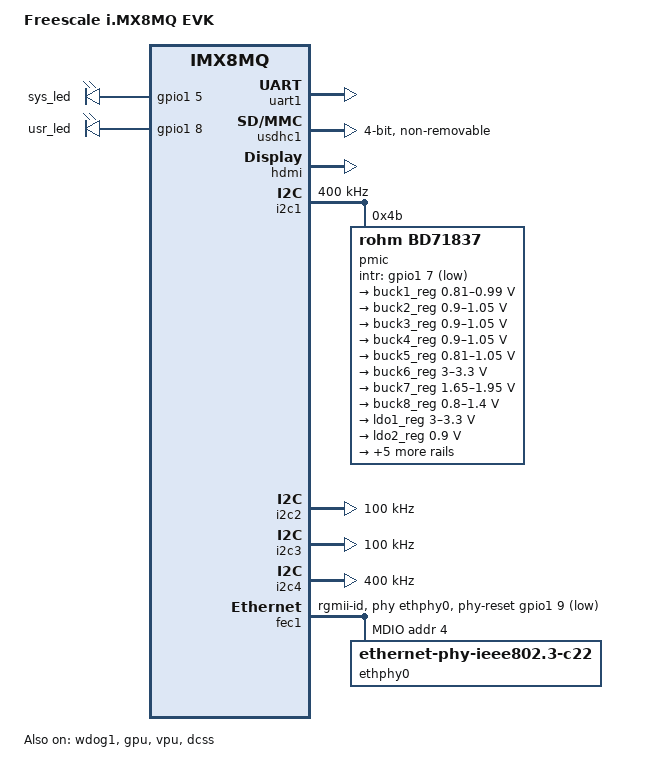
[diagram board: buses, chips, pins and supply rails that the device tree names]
/*
 * Copyright 2019 EMBEST
 *
 * This program is free software; you can redistribute it and/or
 * modify it under the terms of the GNU General Public License
 * as published by the Free Software Foundation; either version 2
 * of the License, or (at your option) any later version.
 *
 * This program is distributed in the hope that it will be useful,
 * but WITHOUT ANY WARRANTY; without even the implied warranty of
 * MERCHANTABILITY or FITNESS FOR A PARTICULAR PURPOSE.  See the
 * GNU General Public License for more details.
 */

/dts-v1/;

#include "fsl-imx8mq.dtsi"

/ {
	model = "Freescale i.MX8MQ EVK";
	compatible = "fsl,imx8mq-evk", "fsl,imx8mq";

	chosen {
		bootargs = "console=ttymxc0,115200 earlycon=ec_imx6q,0x30860000,115200";
		stdout-path = &uart1;
	};

	leds {
		compatible = "gpio-leds";
		pinctrl-names = "default";
		pinctrl-0 = <&pinctrl_gpio_leds>;
		status = "okay";

		sys_led {
				label = "sys_led";
				gpios = <&gpio1 5 0>;
				default-state = "on";
				linux,default-trigger = "heartbeat";
		};
		usr_led {
				label = "usr_led";
				gpios = <&gpio1 8 0>;
				default-state = "on";
		};

	};
};

&clk {
	assigned-clocks = <&clk IMX8MQ_AUDIO_PLL1>, <&clk IMX8MQ_AUDIO_PLL2>;
	assigned-clock-rates = <786432000>, <722534400>;
};

&iomuxc {
	pinctrl-names = "default";
	pinctrl-0 = <&pinctrl_hog>;

	imx8mq-evk {
		pinctrl_hog: hoggrp {
			fsl,pins = <

			>;
		};

		pinctrl_gpio_leds: gpio_ledsgrp {
			fsl,pins = <
				MX8MQ_IOMUXC_GPIO1_IO05_GPIO1_IO5                0x19
				MX8MQ_IOMUXC_GPIO1_IO08_GPIO1_IO8                0x19
			>;
		};

		pinctrl_uart1: uart1grp {
			fsl,pins = <
				MX8MQ_IOMUXC_UART1_RXD_UART1_DCE_RX		0x49
				MX8MQ_IOMUXC_UART1_TXD_UART1_DCE_TX		0x49
			>;
		};

		pinctrl_usdhc1: usdhc1grp {
			fsl,pins = <
				MX8MQ_IOMUXC_SD1_CLK_USDHC1_CLK			0x83
				MX8MQ_IOMUXC_SD1_CMD_USDHC1_CMD			0xc3
				MX8MQ_IOMUXC_SD1_DATA0_USDHC1_DATA0		0xc3
				MX8MQ_IOMUXC_SD1_DATA1_USDHC1_DATA1		0xc3
				MX8MQ_IOMUXC_SD1_DATA2_USDHC1_DATA2		0xc3
				MX8MQ_IOMUXC_SD1_DATA3_USDHC1_DATA3		0xc3
				MX8MQ_IOMUXC_GPIO1_IO06_GPIO1_IO6		0x19
			>;
		};

		pinctrl_usdhc1_100mhz: usdhc1grp100mhz {
			fsl,pins = <
				MX8MQ_IOMUXC_SD1_CLK_USDHC1_CLK			0x85
				MX8MQ_IOMUXC_SD1_CMD_USDHC1_CMD			0xc5
				MX8MQ_IOMUXC_SD1_DATA0_USDHC1_DATA0		0xc5
				MX8MQ_IOMUXC_SD1_DATA1_USDHC1_DATA1		0xc5
				MX8MQ_IOMUXC_SD1_DATA2_USDHC1_DATA2		0xc5
				MX8MQ_IOMUXC_SD1_DATA3_USDHC1_DATA3		0xc5
			>;
		};

		pinctrl_usdhc1_200mhz: usdhc1grp200mhz {
			fsl,pins = <
				MX8MQ_IOMUXC_SD1_CLK_USDHC1_CLK			0x87
				MX8MQ_IOMUXC_SD1_CMD_USDHC1_CMD			0xc7
				MX8MQ_IOMUXC_SD1_DATA0_USDHC1_DATA0		0xc7
				MX8MQ_IOMUXC_SD1_DATA1_USDHC1_DATA1		0xc7
				MX8MQ_IOMUXC_SD1_DATA2_USDHC1_DATA2		0xc7
				MX8MQ_IOMUXC_SD1_DATA3_USDHC1_DATA3		0xc7
			>;
		};

		pinctrl_i2c1: i2c1grp {
			fsl,pins = <
				MX8MQ_IOMUXC_I2C1_SCL_I2C1_SCL			0x4000007f
				MX8MQ_IOMUXC_I2C1_SDA_I2C1_SDA			0x4000007f
			>;
		};

		pinctrl_i2c2: i2c2grp {
			fsl,pins = <
				MX8MQ_IOMUXC_I2C2_SCL_I2C2_SCL			0x4000007f
				MX8MQ_IOMUXC_I2C2_SDA_I2C2_SDA			0x4000007f
			>;
		};

		pinctrl_i2c3: i2c3grp {
			fsl,pins = <
				MX8MQ_IOMUXC_I2C3_SCL_I2C3_SCL			0x4000007f
				MX8MQ_IOMUXC_I2C3_SDA_I2C3_SDA			0x4000007f
			>;
		};

		pinctrl_i2c4: i2c4grp {
			fsl,pins = <
				MX8MQ_IOMUXC_I2C4_SCL_I2C4_SCL			0x4000007f
				MX8MQ_IOMUXC_I2C4_SDA_I2C4_SDA			0x4000007f
			>;
		};

		pinctrl_pmic: pmicirq {
			fsl,pins = <
				MX8MQ_IOMUXC_GPIO1_IO07_GPIO1_IO7		0x41
			>;
		};

		pinctrl_wdog: wdoggrp {
			fsl,pins = <
				MX8MQ_IOMUXC_GPIO1_IO02_WDOG1_WDOG_B 0xc6
			>;
		};

		pinctrl_fec1: fec1grp {
			fsl,pins = <
				MX8MQ_IOMUXC_ENET_MDC_ENET1_MDC		0x3
				MX8MQ_IOMUXC_ENET_MDIO_ENET1_MDIO	0x23
				MX8MQ_IOMUXC_ENET_TD3_ENET1_RGMII_TD3	0x1f
				MX8MQ_IOMUXC_ENET_TD2_ENET1_RGMII_TD2	0x1f
				MX8MQ_IOMUXC_ENET_TD1_ENET1_RGMII_TD1	0x1f
				MX8MQ_IOMUXC_ENET_TD0_ENET1_RGMII_TD0	0x1f
				MX8MQ_IOMUXC_ENET_RD3_ENET1_RGMII_RD3	0x91
				MX8MQ_IOMUXC_ENET_RD2_ENET1_RGMII_RD2	0x91
				MX8MQ_IOMUXC_ENET_RD1_ENET1_RGMII_RD1	0x91
				MX8MQ_IOMUXC_ENET_RD0_ENET1_RGMII_RD0	0x91
				MX8MQ_IOMUXC_ENET_TXC_ENET1_RGMII_TXC	0x1f
				MX8MQ_IOMUXC_ENET_RXC_ENET1_RGMII_RXC	0x91
				MX8MQ_IOMUXC_ENET_RX_CTL_ENET1_RGMII_RX_CTL	0x91
				MX8MQ_IOMUXC_ENET_TX_CTL_ENET1_RGMII_TX_CTL	0x1f
				MX8MQ_IOMUXC_GPIO1_IO09_GPIO1_IO9	0x19
			>;
		};
	};
};

/* console */
&uart1 { 
	pinctrl-names = "default";
	pinctrl-0 = <&pinctrl_uart1>;
	assigned-clocks = <&clk IMX8MQ_CLK_UART1>;
	assigned-clock-parents = <&clk IMX8MQ_CLK_25M>;
	status = "okay";
};
 
&usdhc1 {
	pinctrl-names = "default", "state_100mhz", "state_200mhz";
	pinctrl-0 = <&pinctrl_usdhc1>;
	non-removable;
	bus-width = <4>;
	status = "okay";
};

&A53_0 {
	operating-points = <
		/* kHz    uV */
		1500000 1000000
		1300000 1000000
		1000000 900000
		800000  900000
	>;
};

&wdog1 {
	pinctrl-names = "default";
	pinctrl-0 = <&pinctrl_wdog>;
	fsl,ext-reset-output;
	status = "okay";
};

&gpu {
       status = "okay";
};

&vpu {
	   /delete-property/ regulator-supply;
       status = "okay";
};

&dcss {
	status = "okay";
	disp-dev = "hdmi_disp";
};

&hdmi {
	status = "okay";
};

&dcss {
	status = "okay";
	disp-dev = "hdmi_disp";
};

&hdmi {
	status = "okay";
};

&i2c1 {
	clock-frequency = <400000>;
	pinctrl-names = "default";
	pinctrl-0 = <&pinctrl_i2c1>;
	status = "okay";

	pmic: bd71837@4b {
		reg = <0x4b>;
		compatible = "rohm,bd71837";
		/* PMIC BD71837 PMIC_nINT GPIO1_IO12 */
		pinctrl-0 = <&pinctrl_pmic>;
		gpio_intr = <&gpio1 7 GPIO_ACTIVE_LOW>;

		bd71837,pmic-buck1-uses-i2c-dvs;
		bd71837,pmic-buck1-dvs-voltage = <900000>, <850000>, <800000>; /* VDD_SOC: Run-Idle-Suspend */
		bd71837,pmic-buck2-uses-i2c-dvs;
		bd71837,pmic-buck2-dvs-voltage = <1000000>, <900000>, <0>; /* VDD_ARM: Run-Idle */
		bd71837,pmic-buck3-uses-i2c-dvs;
		bd71837,pmic-buck3-dvs-voltage = <1000000>, <0>, <0>; /* VDD_GPU: Run */
		bd71837,pmic-buck4-uses-i2c-dvs;
		bd71837,pmic-buck4-dvs-voltage = <1000000>, <0>, <0>; /* VDD_VPU: Run */

		gpo {
			rohm,drv = <0x0C>;	/* 0b0000_1100 all gpos with cmos output mode */
		};

		regulators {
			#address-cells = <1>;
			#size-cells = <0>;

			buck1_reg: regulator@0 {
				reg = <0>;
				regulator-compatible = "buck1";
				regulator-min-microvolt = <810000>;
				regulator-max-microvolt = <990000>;
				regulator-boot-on;
				regulator-always-on;
				regulator-ramp-delay = <1250>;
			};

			buck2_reg: regulator@1 {
				reg = <1>;
				regulator-compatible = "buck2";
				regulator-min-microvolt = <900000>;
				regulator-max-microvolt = <1050000>;
				regulator-boot-on;
				regulator-always-on;
				regulator-ramp-delay = <1250>;
			};

			buck3_reg: regulator@2 {
				reg = <2>;
				regulator-compatible = "buck3";
				regulator-min-microvolt = <900000>;
				regulator-max-microvolt = <1050000>;
				regulator-boot-on;
				regulator-always-on;
			};

			buck4_reg: regulator@3 {
				reg = <3>;
				regulator-compatible = "buck4";
				regulator-min-microvolt = <900000>;
				regulator-max-microvolt = <1050000>;
				regulator-boot-on;
				regulator-always-on;
			};

			buck5_reg: regulator@4 {
				reg = <4>;
				regulator-compatible = "buck5";
				regulator-min-microvolt = <810000>;
				regulator-max-microvolt = <1050000>;
				regulator-boot-on;
				regulator-always-on;
			};

			buck6_reg: regulator@5 {
				reg = <5>;
				regulator-compatible = "buck6";
				regulator-min-microvolt = <3000000>;
				regulator-max-microvolt = <3300000>;
				regulator-boot-on;
				regulator-always-on;
			};

			buck7_reg: regulator@6 {
				reg = <6>;
				regulator-compatible = "buck7";
				regulator-min-microvolt = <1650000>;
				regulator-max-microvolt = <1950000>;
				regulator-boot-on;
				regulator-always-on;
			};

			buck8_reg: regulator@7 {
				reg = <7>;
				regulator-compatible = "buck8";
				regulator-min-microvolt = <800000>;
				regulator-max-microvolt = <1400000>;
				regulator-boot-on;
				regulator-always-on;
			};

			ldo1_reg: regulator@8 {
				reg = <8>;
				regulator-compatible = "ldo1";
				regulator-min-microvolt = <3000000>;
				regulator-max-microvolt = <3300000>;
				regulator-boot-on;
				regulator-always-on;
			};

			ldo2_reg: regulator@9 {
				reg = <9>;
				regulator-compatible = "ldo2";
				regulator-min-microvolt = <900000>;
				regulator-max-microvolt = <900000>;
				regulator-boot-on;
				regulator-always-on;
			};

			ldo3_reg: regulator@10 {
				reg = <10>;
				regulator-compatible = "ldo3";
				regulator-min-microvolt = <1700000>;
				regulator-max-microvolt = <1900000>;
				regulator-boot-on;
				regulator-always-on;
			};

			ldo4_reg: regulator@11 {
				reg = <11>;
				regulator-compatible = "ldo4";
				regulator-min-microvolt = <900000>;
				regulator-max-microvolt = <900000>;
				regulator-boot-on;
				regulator-always-on;

			};

			ldo5_reg: regulator@12 {
				reg = <12>;
				regulator-compatible = "ldo5";
				regulator-min-microvolt = <2500000>;
				regulator-max-microvolt = <2500000>;
				regulator-boot-on;
				regulator-always-on;
			};

			ldo6_reg: regulator@13 {
				reg = <13>;
				regulator-compatible = "ldo6";
				regulator-min-microvolt = <900000>;
				regulator-max-microvolt = <900000>;
				regulator-boot-on;
				regulator-always-on;
			};

			ldo7_reg: regulator@14 {
				reg = <14>;
				regulator-compatible = "ldo7";
				regulator-min-microvolt = <3000000>;
				regulator-max-microvolt = <3300000>;
				regulator-boot-on;
				regulator-always-on;
			};
		};
	};
};

&i2c2 {
	clock-frequency = <100000>;
	pinctrl-names = "default";
	pinctrl-0 = <&pinctrl_i2c2>;
	status = "okay";
};

&i2c3 {
	clock-frequency = <100000>;
	pinctrl-names = "default";
	pinctrl-0 = <&pinctrl_i2c3>;
	status = "okay";
};

&i2c4 {
	clock-frequency = <400000>;
	pinctrl-names = "default";
	pinctrl-0 = <&pinctrl_i2c4>;
	status = "okay";
};

&fec1 {
	pinctrl-names = "default";
	pinctrl-0 = <&pinctrl_fec1>;
	phy-mode = "rgmii-id";
	phy-handle = <&ethphy0>;
	fsl,magic-packet;
	phy-reset-gpios = <&gpio1 9 GPIO_ACTIVE_LOW>;
	status = "okay";

	mdio {
		#address-cells = <1>;
		#size-cells = <0>;

		ethphy0: ethernet-phy@4 {
			compatible = "ethernet-phy-ieee802.3-c22";
			reg = <4>;
			at803x,led-act-blind-workaround;
			at803x,eee-disabled;
		};
	};
};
